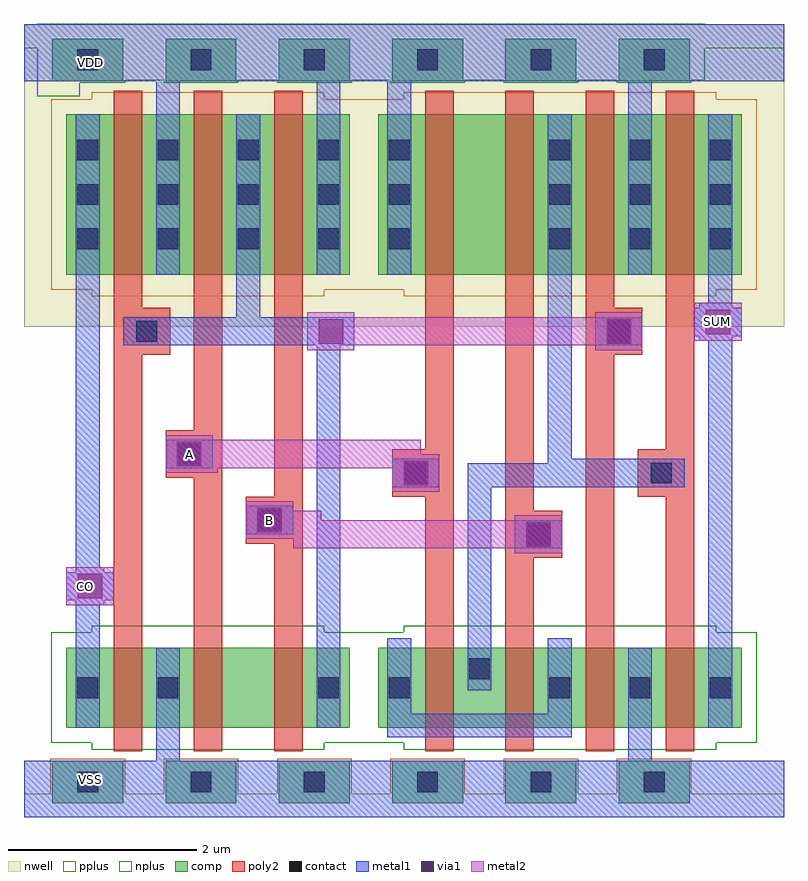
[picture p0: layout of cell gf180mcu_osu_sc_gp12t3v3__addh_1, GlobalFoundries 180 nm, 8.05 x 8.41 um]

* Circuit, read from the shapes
.subckt gf180mcu_osu_sc_gp12t3v3__addh_1 A B CO SUM VDD VSS
XM1 VSS n1 CO VSS nfet_03v3 w=0.85u l=0.3u
XM2 n2 A VSS VSS nfet_03v3 w=0.85u l=0.3u
XM3 n1 B n2 VSS nfet_03v3 w=0.85u l=0.3u
XM4 n3 A n4 VSS nfet_03v3 w=0.85u l=0.3u
XM5 n4 B n3 VSS nfet_03v3 w=0.85u l=0.3u
XM6 VSS n1 n4 VSS nfet_03v3 w=0.85u l=0.3u
XM7 SUM n3 VSS VSS nfet_03v3 w=0.85u l=0.3u
XM8 VDD n1 CO VDD pfet_03v3 w=1.7u l=0.3u
XM9 n1 A VDD VDD pfet_03v3 w=1.7u l=0.3u
XM10 VDD B n1 VDD pfet_03v3 w=1.7u l=0.3u
XM11 n5 A VDD VDD pfet_03v3 w=1.7u l=0.3u
XM12 n3 B n5 VDD pfet_03v3 w=1.7u l=0.3u
XM13 VDD n1 n3 VDD pfet_03v3 w=1.7u l=0.3u
XM14 SUM n3 VDD VDD pfet_03v3 w=1.7u l=0.3u
.ends

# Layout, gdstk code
import gdstk
lib = gdstk.Library(unit=1e-6, precision=1e-09)
def R(c, l, rs):  # rectangles x0, y0, x1, y1
    for r in rs: c.add(gdstk.rectangle(r[:2], r[2:], *l))
def A(c, l, x, y, w, h, nx, ny, dx, dy):  # array of equal rectangles
    R(c, l, [(x+i*dx, y+j*dy, x+i*dx+w, y+j*dy+h) for i in range(nx) for j in range(ny)])
nwell = (21, 0)
comp = (22, 0)
poly2 = (30, 0)
pplus = (31, 0)
nplus = (32, 0)
contact = (33, 0)
metal1 = (34, 0)
via1 = (35, 0)
metal2 = (36, 0)

gf180mcu_osu_sc_gp12t3v3 = lib.new_cell('gf180mcu_osu_sc_gp12t3v3__addh_1')
R(gf180mcu_osu_sc_gp12t3v3, nwell, [(0,5.2,8.05,8.4)])
A(gf180mcu_osu_sc_gp12t3v3, comp, 0.3, 0.15, 0.75, 0.45, 6, 2, 1.2, 7.65)
R(gf180mcu_osu_sc_gp12t3v3, comp, [(0.45,0.95,3.45,1.8), (3.75,0.95,7.6,1.8), (0.45,5.75,3.45,7.45), (3.75,5.75,7.6,7.45)])
R(gf180mcu_osu_sc_gp12t3v3, poly2, [(0.95,0.7,1.25,4.9), (1.8,0.7,2.1,3.6), (2.65,0.7,2.95,2.9), (4.25,0.7,4.55,3.4), (5.1,0.7,5.4,2.75), (5.95,0.7,6.25,4.9), (6.8,0.7,7.1,3.4), (5.1,2.75,5.7,3.25), (2.35,2.9,2.95,3.4), (5.1,3.25,5.4,7.7), (2.65,3.4,2.95,7.7), (3.9,3.4,4.55,3.9), (6.5,3.4,7.1,3.9), (1.5,3.6,2.1,4.1), (4.25,3.9,4.55,7.7), (6.8,3.9,7.1,7.7), (1.8,4.1,2.1,7.7), (0.95,4.9,1.55,5.4), (5.95,4.9,6.55,5.4), (0.95,5.4,1.25,7.7), (5.95,5.4,6.25,7.7)])
A(gf180mcu_osu_sc_gp12t3v3, pplus, 0.28, 0.13, 0.79, 0.49, 6, 1, 1.2, 0)
R(gf180mcu_osu_sc_gp12t3v3, pplus, [(0,0,8.05,0.25), (0.72,5.52,3.18,5.59), (4.02,5.52,7.33,5.59), (0.29,5.59,7.76,7.61), (0.72,7.61,3.18,7.68), (4.02,7.61,7.33,7.68)])
A(gf180mcu_osu_sc_gp12t3v3, nplus, 1.48, 7.78, 0.79, 0.03, 5, 1, 1.2, 0)
R(gf180mcu_osu_sc_gp12t3v3, nplus, [(0.72,0.72,3.18,0.79), (4.02,0.72,7.33,0.79), (0.29,0.79,7.76,1.96), (0.72,1.96,3.18,2.03), (4.02,1.96,7.33,2.03), (0.14,7.64,0.59,7.78), (0.14,7.78,1.07,7.81), (0.14,7.81,7.21,8.15), (0,8.15,8.05,8.4), (0,8.15,8.05,8.4), (0.14,8.4,7.21,8.41)])
A(gf180mcu_osu_sc_gp12t3v3, contact, 0.565, 0.265, 0.22, 0.22, 6, 2, 1.2, 7.65)
A(gf180mcu_osu_sc_gp12t3v3, contact, 5.565, 1.265, 0.22, 0.22, 3, 2, 0.85, 4.755)
A(gf180mcu_osu_sc_gp12t3v3, contact, 0.565, 6.02, 0.22, 0.22, 4, 3, 0.85, 0.47)
A(gf180mcu_osu_sc_gp12t3v3, contact, 3.865, 6.02, 0.22, 0.22, 1, 3, 0, 0.47)
A(gf180mcu_osu_sc_gp12t3v3, contact, 5.565, 6.49, 0.22, 0.22, 3, 2, 0.85, 0.47)
R(gf180mcu_osu_sc_gp12t3v3, contact, [(0.565,1.265,0.785,1.485), (1.415,1.265,1.635,1.485), (3.115,1.265,3.335,1.485), (3.865,1.265,4.085,1.485), (4.715,1.465,4.935,1.685), (5.34,2.89,5.56,3.11), (2.49,3.04,2.71,3.26), (4.04,3.54,4.26,3.76), (6.64,3.54,6.86,3.76), (1.64,3.74,1.86,3.96), (1.19,5.04,1.41,5.26), (6.19,5.04,6.41,5.26)])
R(gf180mcu_osu_sc_gp12t3v3, metal1, [(0,0,8.05,0.6), (1.4,0.6,1.65,1.8), (6.4,0.6,6.65,1.8), (3.85,0.85,5.8,1.1), (0.55,0.95,0.8,2.25), (3.1,0.95,3.35,5), (7.25,0.95,7.5,5.05), (3.85,1.1,4.1,1.9), (5.55,1.1,5.8,1.9), (4.7,1.35,4.95,3.5), (0.55,2.25,0.85,2.3), (0.45,2.3,0.95,2.6), (0.55,2.6,0.85,2.65), (0.55,2.65,0.8,7.45), (5.2,2.85,5.7,3.15), (2.35,3,2.85,3.3), (3.9,3.5,4.4,3.8), (4.7,3.5,7,3.75), (1.5,3.7,2,4), (5.55,3.75,7,3.8), (5.55,3.8,5.8,7.45), (1.05,5,3.5,5.3), (6.05,5,6.55,5.3), (7.15,5.05,7.5,5.1), (7.1,5.1,7.6,5.4), (2.25,5.3,2.5,7.45), (7.15,5.4,7.5,5.45), (7.25,5.45,7.5,7.45), (1.4,5.75,1.65,7.8), (3.1,5.75,3.35,7.8), (3.85,5.75,4.1,7.8), (6.4,5.75,6.65,7.8), (0,7.8,8.05,8.4)])
R(gf180mcu_osu_sc_gp12t3v3, via1, [(0.57,2.32,0.83,2.58), (5.32,2.87,5.58,3.13), (2.47,3.02,2.73,3.28), (4.02,3.52,4.28,3.78), (1.62,3.72,1.88,3.98), (3.12,5.02,3.38,5.28), (6.17,5.02,6.43,5.28), (7.22,5.12,7.48,5.38)])
R(gf180mcu_osu_sc_gp12t3v3, metal2, [(0.45,2.25,0.95,2.65), (5.2,2.8,5.7,2.85), (2.85,2.85,5.7,2.95), (2.35,2.95,5.7,3.15), (2.35,3.15,3.15,3.25), (5.2,3.15,5.7,3.2), (2.35,3.25,2.85,3.35), (3.9,3.45,4.4,3.7), (1.5,3.65,2.05,3.7), (1.5,3.7,4.4,3.85), (1.5,3.85,4.2,4), (1.5,4,2,4.05), (3,4.95,3.5,5), (6.05,4.95,6.55,5), (3,5,6.55,5.3), (7.1,5.05,7.6,5.45), (3,5.3,3.5,5.35), (6.05,5.3,6.55,5.35)])
gf180mcu_osu_sc_gp12t3v3.add(gdstk.Label('A', (1.75,3.85), layer=36, texttype=10))
gf180mcu_osu_sc_gp12t3v3.add(gdstk.Label('B', (2.6,3.15), layer=36, texttype=10))
gf180mcu_osu_sc_gp12t3v3.add(gdstk.Label('SUM', (7.35,5.25), layer=36, texttype=10))
gf180mcu_osu_sc_gp12t3v3.add(gdstk.Label('CO', (0.65,2.45), layer=36, texttype=10))
gf180mcu_osu_sc_gp12t3v3.add(gdstk.Label('VDD', (0.7,8), layer=34, texttype=10))
gf180mcu_osu_sc_gp12t3v3.add(gdstk.Label('VSS', (0.7,0.4), layer=34, texttype=10))

lib.write_gds('gf180mcu_osu_sc_gp12t3v3__addh_1.gds')
